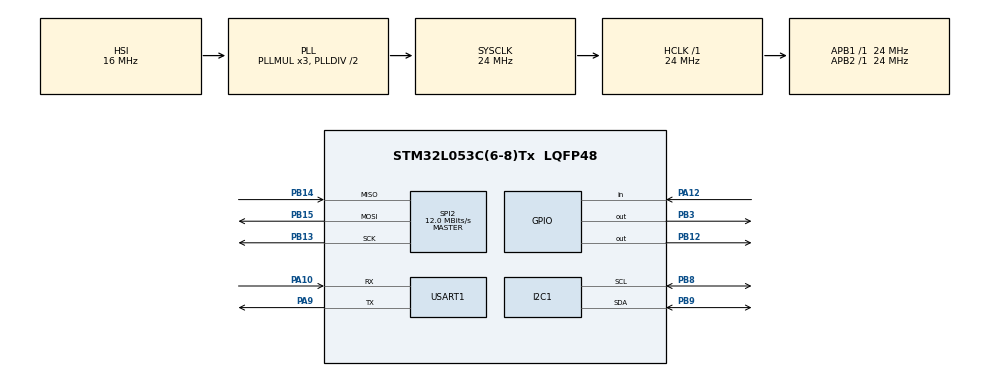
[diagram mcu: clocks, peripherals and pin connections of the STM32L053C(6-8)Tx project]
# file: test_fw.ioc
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Mcu.Family=STM32L0
RCC.MSI_VALUE=2097000
PA10.Mode=Asynchronous
SPI2.VirtualType=VM_MASTER
PB15.Signal=SPI2_MOSI
PB13.Signal=SPI2_SCK
RCC.SYSCLKSource=RCC_SYSCLKSOURCE_PLLCLK
ProjectManager.StackSize=0x400
USART1.VirtualMode-Asynchronous=VM_ASYNC
PA13.Signal=SYS_SWDIO
RCC.HSI16_VALUE=16000000
PA9.Mode=Asynchronous
PA12.Signal=GPIO_Input
ProjectManager.TargetToolchain=STM32CubeIDE
RCC.HCLKFreq_Value=24000000
PB9.Mode=I2C
RCC.APB2TimFreq_Value=24000000
PA9.Signal=USART1_TX
I2C1.Timing=0x00506682
PB12.PinState=GPIO_PIN_SET
RCC.LSE_VALUE=32768
RCC.AHBFreq_Value=24000000
PB14.Signal=SPI2_MISO
RCC.HSE_VALUE=8000000
board=custom
RCC.VCOOutputFreq_Value=48000000
PB15.Mode=Full_Duplex_Master
RCC.APB2Freq_Value=24000000
PA14.Mode=Serial_Wire
PB14.Mode=Full_Duplex_Master
SPI2.CalculateBaudRate=12.0 MBits/s
PA13.Mode=Serial_Wire
Mcu.Name=STM32L053C(6-8)Tx
PB3.Signal=GPIO_Output
RCC.SYSCLKFreq_VALUE=24000000
Mcu.Package=LQFP48
PB9.Signal=I2C1_SDA
SPI2.Mode=SPI_MODE_MASTER
PA10.Signal=USART1_RX
PA14.Signal=SYS_SWCLK
ProjectManager.HeapSize=0x200
RCC.HSI_VALUE=16000000
PB8.Mode=I2C
RCC.APB1TimFreq_Value=24000000
PB8.Signal=I2C1_SCL
SPI2.Direction=SPI_DIRECTION_2LINES
PB13.Mode=Full_Duplex_Master
RCC.APB1Freq_Value=24000000
PB12.Signal=GPIO_Output
RCC.HSI48_VALUE=48000000

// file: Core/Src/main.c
/* USER CODE BEGIN Header */
/**
  ******************************************************************************
  * @file           : main.c
  * @brief          : Main program body
  ******************************************************************************
  * @attention
  *
  * <h2><center>&copy; Copyright (c) 2021 STMicroelectronics.
  * All rights reserved.</center></h2>
  *
  * This software component is licensed by ST under BSD 3-Clause license,
  * the "License"; You may not use this file except in compliance with the
  * License. You may obtain a copy of the License at:
  *                        opensource.org/licenses/BSD-3-Clause
  *
  ******************************************************************************
  */
/* USER CODE END Header */
#include "main.h"

/* USER CODE BEGIN Includes */
#include "tmp112_sensor.h"
#include <stdio.h>
/* USER CODE END Includes */

I2C_HandleTypeDef hi2c1;

SPI_HandleTypeDef hspi2;

UART_HandleTypeDef huart1;

void SystemClock_Config(void);
static void MX_GPIO_Init(void);
static void MX_USART1_UART_Init(void);
static void MX_I2C1_Init(void);
static void MX_SPI2_Init(void);
/* USER CODE BEGIN PFP */
void tmp112_i2c_tx_func(uint8_t address, uint8_t* data, size_t size);
void tmp112_i2c_rx_func(uint8_t address, uint8_t* read_data, size_t size);
/* USER CODE END PFP */

int main(void)
{

  /* MCU Configuration--------------------------------------------------------*/

  /* Reset of all peripherals, Initializes the Flash interface and the Systick. */
  HAL_Init();

  /* Configure the system clock */
  SystemClock_Config();

  /* Initialize all configured peripherals */
  MX_GPIO_Init();
  MX_USART1_UART_Init();
  MX_I2C1_Init();
  MX_SPI2_Init();
  /* USER CODE BEGIN 2 */
  tmp112_sensor_init(0x48, tmp112_i2c_tx_func, tmp112_i2c_rx_func);

  double temp = 0;
  /* USER CODE END 2 */

  /* Infinite loop */
  /* USER CODE BEGIN WHILE */
  while (1)
  {
	  while(HAL_GPIO_ReadPin(GPIOA, GPIO_PIN_12) == GPIO_PIN_RESET);

	  int times = 6;
	  while (times--)
	  {
		  HAL_GPIO_TogglePin(GPIOB, GPIO_PIN_3);
		  int i = 500000;
		  while(i--);
	  }

	  char temperature[] = "Temperature: ";
	  HAL_UART_Transmit(&huart1, temperature, sizeof(temperature), 0xFFFFFFFF);

	  temp = tmp112_sensor_get_temperature();
  	  char buf[] = "\0\0\0\0\0\0\0\0\0\0\n\r";
  	  sprintf(buf,"%f",temp);
  	  HAL_UART_Transmit(&huart1, buf, sizeof(buf), 0xFFFFFFFF);

  	  char txSpi[] = {0x9F};
  	  char rxSpi[] = {0x00, 0x00, 0x00};

  	  HAL_GPIO_WritePin(GPIOB, GPIO_PIN_12, GPIO_PIN_RESET);
  	  HAL_SPI_Transmit(&hspi2, txSpi, sizeof(txSpi), 0xFFFFFFFF);
  	  HAL_SPI_Receive(&hspi2, rxSpi, sizeof(rxSpi), 0xffffffff);
  	  HAL_GPIO_WritePin(GPIOB, GPIO_PIN_12, GPIO_PIN_SET);

	  char spi_id[] = "SPI ID: ";
	  HAL_UART_Transmit(&huart1, spi_id, sizeof(spi_id), 0xFFFFFFFF);
	  char buf2[] = "\0\0\0\0\0\0\0\0\0\0\0\0\0\0\0\0\0\0\0\0\n\r";
	  sprintf(buf2,"0x%02x 0x%02x 0x%02x",rxSpi[0], rxSpi[2], rxSpi[3]);
	  HAL_UART_Transmit(&huart1, buf2, sizeof(buf2), 0xFFFFFFFF);
    /* USER CODE END WHILE */

  }
}

void SystemClock_Config(void)
{
  RCC_OscInitTypeDef RCC_OscInitStruct = {0};
  RCC_ClkInitTypeDef RCC_ClkInitStruct = {0};
  RCC_PeriphCLKInitTypeDef PeriphClkInit = {0};

  /** Configure the main internal regulator output voltage
  */
  __HAL_PWR_VOLTAGESCALING_CONFIG(PWR_REGULATOR_VOLTAGE_SCALE1);
  /** Initializes the RCC Oscillators according to the specified parameters
  * in the RCC_OscInitTypeDef structure.
  */
  RCC_OscInitStruct.OscillatorType = RCC_OSCILLATORTYPE_HSI;
  RCC_OscInitStruct.HSIState = RCC_HSI_ON;
  RCC_OscInitStruct.HSICalibrationValue = RCC_HSICALIBRATION_DEFAULT;
  RCC_OscInitStruct.PLL.PLLState = RCC_PLL_ON;
  RCC_OscInitStruct.PLL.PLLSource = RCC_PLLSOURCE_HSI;
  RCC_OscInitStruct.PLL.PLLMUL = RCC_PLLMUL_3;
  RCC_OscInitStruct.PLL.PLLDIV = RCC_PLLDIV_2;
  if (HAL_RCC_OscConfig(&RCC_OscInitStruct) != HAL_OK)
  {
    Error_Handler();
  }
  /** Initializes the CPU, AHB and APB buses clocks
  */
  RCC_ClkInitStruct.ClockType = RCC_CLOCKTYPE_HCLK|RCC_CLOCKTYPE_SYSCLK
                              |RCC_CLOCKTYPE_PCLK1|RCC_CLOCKTYPE_PCLK2;
  RCC_ClkInitStruct.SYSCLKSource = RCC_SYSCLKSOURCE_PLLCLK;
  RCC_ClkInitStruct.AHBCLKDivider = RCC_SYSCLK_DIV1;
  RCC_ClkInitStruct.APB1CLKDivider = RCC_HCLK_DIV1;
  RCC_ClkInitStruct.APB2CLKDivider = RCC_HCLK_DIV1;

  if (HAL_RCC_ClockConfig(&RCC_ClkInitStruct, FLASH_LATENCY_1) != HAL_OK)
  {
    Error_Handler();
  }
  PeriphClkInit.PeriphClockSelection = RCC_PERIPHCLK_USART1|RCC_PERIPHCLK_I2C1;
  PeriphClkInit.Usart1ClockSelection = RCC_USART1CLKSOURCE_PCLK2;
  PeriphClkInit.I2c1ClockSelection = RCC_I2C1CLKSOURCE_PCLK1;
  if (HAL_RCCEx_PeriphCLKConfig(&PeriphClkInit) != HAL_OK)
  {
    Error_Handler();
  }
}

static void MX_I2C1_Init(void)
{

  hi2c1.Instance = I2C1;
  hi2c1.Init.Timing = 0x00506682;
  hi2c1.Init.OwnAddress1 = 0;
  hi2c1.Init.AddressingMode = I2C_ADDRESSINGMODE_7BIT;
  hi2c1.Init.DualAddressMode = I2C_DUALADDRESS_DISABLE;
  hi2c1.Init.OwnAddress2 = 0;
  hi2c1.Init.OwnAddress2Masks = I2C_OA2_NOMASK;
  hi2c1.Init.GeneralCallMode = I2C_GENERALCALL_DISABLE;
  hi2c1.Init.NoStretchMode = I2C_NOSTRETCH_DISABLE;
  if (HAL_I2C_Init(&hi2c1) != HAL_OK)
  {
    Error_Handler();
  }
  /** Configure Analogue filter
  */
  if (HAL_I2CEx_ConfigAnalogFilter(&hi2c1, I2C_ANALOGFILTER_ENABLE) != HAL_OK)
  {
    Error_Handler();
  }
  /** Configure Digital filter
  */
  if (HAL_I2CEx_ConfigDigitalFilter(&hi2c1, 0) != HAL_OK)
  {
    Error_Handler();
  }

}

static void MX_SPI2_Init(void)
{

  /* SPI2 parameter configuration*/
  hspi2.Instance = SPI2;
  hspi2.Init.Mode = SPI_MODE_MASTER;
  hspi2.Init.Direction = SPI_DIRECTION_2LINES;
  hspi2.Init.DataSize = SPI_DATASIZE_8BIT;
  hspi2.Init.CLKPolarity = SPI_POLARITY_LOW;
  hspi2.Init.CLKPhase = SPI_PHASE_1EDGE;
  hspi2.Init.NSS = SPI_NSS_SOFT;
  hspi2.Init.BaudRatePrescaler = SPI_BAUDRATEPRESCALER_2;
  hspi2.Init.FirstBit = SPI_FIRSTBIT_MSB;
  hspi2.Init.TIMode = SPI_TIMODE_DISABLE;
  hspi2.Init.CRCCalculation = SPI_CRCCALCULATION_DISABLE;
  hspi2.Init.CRCPolynomial = 7;
  if (HAL_SPI_Init(&hspi2) != HAL_OK)
  {
    Error_Handler();
  }

}

static void MX_USART1_UART_Init(void)
{

  huart1.Instance = USART1;
  huart1.Init.BaudRate = 115200;
  huart1.Init.WordLength = UART_WORDLENGTH_8B;
  huart1.Init.StopBits = UART_STOPBITS_1;
  huart1.Init.Parity = UART_PARITY_NONE;
  huart1.Init.Mode = UART_MODE_TX_RX;
  huart1.Init.HwFlowCtl = UART_HWCONTROL_NONE;
  huart1.Init.OverSampling = UART_OVERSAMPLING_16;
  huart1.Init.OneBitSampling = UART_ONE_BIT_SAMPLE_DISABLE;
  huart1.AdvancedInit.AdvFeatureInit = UART_ADVFEATURE_NO_INIT;
  if (HAL_UART_Init(&huart1) != HAL_OK)
  {
    Error_Handler();
  }

}

static void MX_GPIO_Init(void)
{
  GPIO_InitTypeDef GPIO_InitStruct = {0};

  /* GPIO Ports Clock Enable */
  __HAL_RCC_GPIOB_CLK_ENABLE();
  __HAL_RCC_GPIOA_CLK_ENABLE();

  /*Configure GPIO pin Output Level */
  HAL_GPIO_WritePin(GPIOB, GPIO_PIN_12, GPIO_PIN_SET);

  /*Configure GPIO pin Output Level */
  HAL_GPIO_WritePin(GPIOB, GPIO_PIN_3, GPIO_PIN_RESET);

  /*Configure GPIO pins : PB12 PB3 */
  GPIO_InitStruct.Pin = GPIO_PIN_12|GPIO_PIN_3;
  GPIO_InitStruct.Mode = GPIO_MODE_OUTPUT_PP;
  GPIO_InitStruct.Pull = GPIO_NOPULL;
  GPIO_InitStruct.Speed = GPIO_SPEED_FREQ_LOW;
  HAL_GPIO_Init(GPIOB, &GPIO_InitStruct);

  /*Configure GPIO pin : PA12 */
  GPIO_InitStruct.Pin = GPIO_PIN_12;
  GPIO_InitStruct.Mode = GPIO_MODE_INPUT;
  GPIO_InitStruct.Pull = GPIO_NOPULL;
  HAL_GPIO_Init(GPIOA, &GPIO_InitStruct);

}

/* USER CODE BEGIN 4 */
void tmp112_i2c_tx_func(uint8_t address, uint8_t* data, size_t size)
{
	HAL_I2C_Master_Transmit(&hi2c1, (address << 1), data, size, 0xffffffff);
}

void tmp112_i2c_rx_func(uint8_t address, uint8_t* read_data, size_t size)
{
	HAL_I2C_Master_Receive(&hi2c1, (address << 1), read_data, size, 0xffffffff);
}
/* USER CODE END 4 */

void Error_Handler(void)
{
}

/************************ (C) COPYRIGHT STMicroelectronics *****END OF FILE****/
